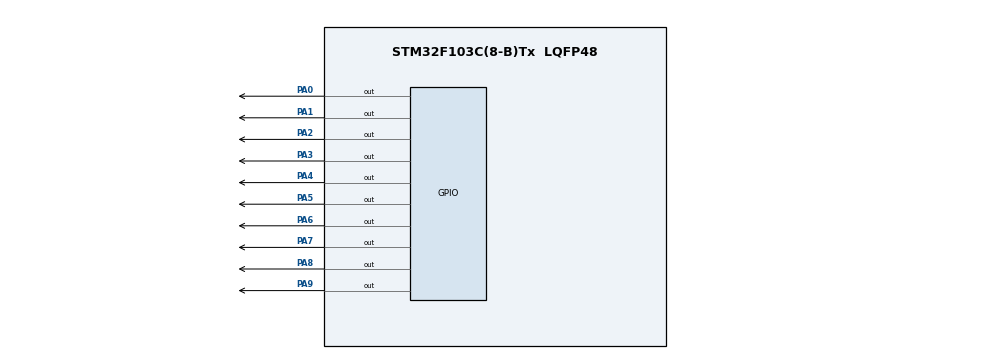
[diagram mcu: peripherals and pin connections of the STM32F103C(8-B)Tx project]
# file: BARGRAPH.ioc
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Mcu.Family=STM32F1
Mcu.Name=STM32F103C(8-B)Tx
Mcu.Package=LQFP48
NVIC.PriorityGroup=NVIC_PRIORITYGROUP_4
PA0-WKUP.Signal=GPIO_Output
PA1.Signal=GPIO_Output
PA2.Signal=GPIO_Output
PA3.Signal=GPIO_Output
PA4.Signal=GPIO_Output
PA5.Signal=GPIO_Output
PA6.Signal=GPIO_Output
PA7.Signal=GPIO_Output
PA8.Signal=GPIO_Output
PA9.Signal=GPIO_Output
ProjectManager.HeapSize=0x200
ProjectManager.StackSize=0x400
ProjectManager.TargetToolchain=STM32CubeIDE
RCC.APB1Freq_Value=8000000
RCC.APB2Freq_Value=8000000
board=custom

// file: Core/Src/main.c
/* USER CODE BEGIN Header */
/**
  ******************************************************************************
  * @file           : main.c
  * @brief          : Main program body
  ******************************************************************************
  * @attention
  *
  * Copyright (c) 2024 STMicroelectronics.
  * All rights reserved.
  *
  * This software is licensed under terms that can be found in the LICENSE file
  * in the root directory of this software component.
  * If no LICENSE file comes with this software, it is provided AS-IS.
  *
  ******************************************************************************
  */
/* USER CODE END Header */
#include "main.h"

void SystemClock_Config(void);
static void MX_GPIO_Init(void);

int main(void)
{

  /* MCU Configuration--------------------------------------------------------*/

  /* Reset of all peripherals, Initializes the Flash interface and the Systick. */
  HAL_Init();

  /* Configure the system clock */
  SystemClock_Config();

  /* Initialize all configured peripherals */
  MX_GPIO_Init();

  /* Infinite loop */
  /* USER CODE BEGIN WHILE */
  while (1)
  {
		HAL_GPIO_WritePin(GPIOA, GPIO_PIN_0|GPIO_PIN_1|GPIO_PIN_2|GPIO_PIN_3|GPIO_PIN_4|GPIO_PIN_5|GPIO_PIN_6|GPIO_PIN_7|GPIO_PIN_8|GPIO_PIN_9, GPIO_PIN_RESET);
		HAL_Delay(500);
		HAL_GPIO_WritePin(GPIOA, GPIO_PIN_9, GPIO_PIN_SET);
		HAL_Delay(100);
		HAL_GPIO_WritePin(GPIOA, GPIO_PIN_8, GPIO_PIN_SET);
		HAL_Delay(100);
		HAL_GPIO_WritePin(GPIOA, GPIO_PIN_7, GPIO_PIN_SET);
		HAL_Delay(100);
		HAL_GPIO_WritePin(GPIOA, GPIO_PIN_6, GPIO_PIN_SET);
		HAL_Delay(100);
		HAL_GPIO_WritePin(GPIOA, GPIO_PIN_5, GPIO_PIN_SET);
		HAL_Delay(100);
		HAL_GPIO_WritePin(GPIOA, GPIO_PIN_4, GPIO_PIN_SET);
		HAL_Delay(100);
		HAL_GPIO_WritePin(GPIOA, GPIO_PIN_3, GPIO_PIN_SET);
		HAL_Delay(100);
		HAL_GPIO_WritePin(GPIOA, GPIO_PIN_2, GPIO_PIN_SET);
		HAL_Delay(100);
		HAL_GPIO_WritePin(GPIOA, GPIO_PIN_1, GPIO_PIN_SET);
		HAL_Delay(100);
		HAL_GPIO_WritePin(GPIOA, GPIO_PIN_0, GPIO_PIN_SET);
		HAL_Delay(100);
		HAL_GPIO_WritePin(GPIOA,GPIO_PIN_0|GPIO_PIN_1|GPIO_PIN_2|GPIO_PIN_3|GPIO_PIN_4|GPIO_PIN_5|GPIO_PIN_6|GPIO_PIN_7|GPIO_PIN_8|GPIO_PIN_9, GPIO_PIN_RESET);
    /* USER CODE END WHILE */

  }
}

void SystemClock_Config(void)
{
  RCC_OscInitTypeDef RCC_OscInitStruct = {0};
  RCC_ClkInitTypeDef RCC_ClkInitStruct = {0};

  /** Initializes the RCC Oscillators according to the specified parameters
  * in the RCC_OscInitTypeDef structure.
  */
  RCC_OscInitStruct.OscillatorType = RCC_OSCILLATORTYPE_HSI;
  RCC_OscInitStruct.HSIState = RCC_HSI_ON;
  RCC_OscInitStruct.HSICalibrationValue = RCC_HSICALIBRATION_DEFAULT;
  RCC_OscInitStruct.PLL.PLLState = RCC_PLL_NONE;
  if (HAL_RCC_OscConfig(&RCC_OscInitStruct) != HAL_OK)
  {
    Error_Handler();
  }

  /** Initializes the CPU, AHB and APB buses clocks
  */
  RCC_ClkInitStruct.ClockType = RCC_CLOCKTYPE_HCLK|RCC_CLOCKTYPE_SYSCLK
                              |RCC_CLOCKTYPE_PCLK1|RCC_CLOCKTYPE_PCLK2;
  RCC_ClkInitStruct.SYSCLKSource = RCC_SYSCLKSOURCE_HSI;
  RCC_ClkInitStruct.AHBCLKDivider = RCC_SYSCLK_DIV1;
  RCC_ClkInitStruct.APB1CLKDivider = RCC_HCLK_DIV1;
  RCC_ClkInitStruct.APB2CLKDivider = RCC_HCLK_DIV1;

  if (HAL_RCC_ClockConfig(&RCC_ClkInitStruct, FLASH_LATENCY_0) != HAL_OK)
  {
    Error_Handler();
  }
}

static void MX_GPIO_Init(void)
{
  GPIO_InitTypeDef GPIO_InitStruct = {0};

  /* GPIO Ports Clock Enable */
  __HAL_RCC_GPIOA_CLK_ENABLE();

  /*Configure GPIO pin Output Level */
  HAL_GPIO_WritePin(GPIOA, GPIO_PIN_0|GPIO_PIN_1|GPIO_PIN_2|GPIO_PIN_3
                          |GPIO_PIN_4|GPIO_PIN_5|GPIO_PIN_6|GPIO_PIN_7
                          |GPIO_PIN_8|GPIO_PIN_9, GPIO_PIN_RESET);

  /*Configure GPIO pins : PA0 PA1 PA2 PA3
                           PA4 PA5 PA6 PA7
                           PA8 PA9 */
  GPIO_InitStruct.Pin = GPIO_PIN_0|GPIO_PIN_1|GPIO_PIN_2|GPIO_PIN_3
                          |GPIO_PIN_4|GPIO_PIN_5|GPIO_PIN_6|GPIO_PIN_7
                          |GPIO_PIN_8|GPIO_PIN_9;
  GPIO_InitStruct.Mode = GPIO_MODE_OUTPUT_PP;
  GPIO_InitStruct.Pull = GPIO_NOPULL;
  GPIO_InitStruct.Speed = GPIO_SPEED_FREQ_LOW;
  HAL_GPIO_Init(GPIOA, &GPIO_InitStruct);

}

void Error_Handler(void)
{
  __disable_irq();
  while (1)
  {
  }
}
